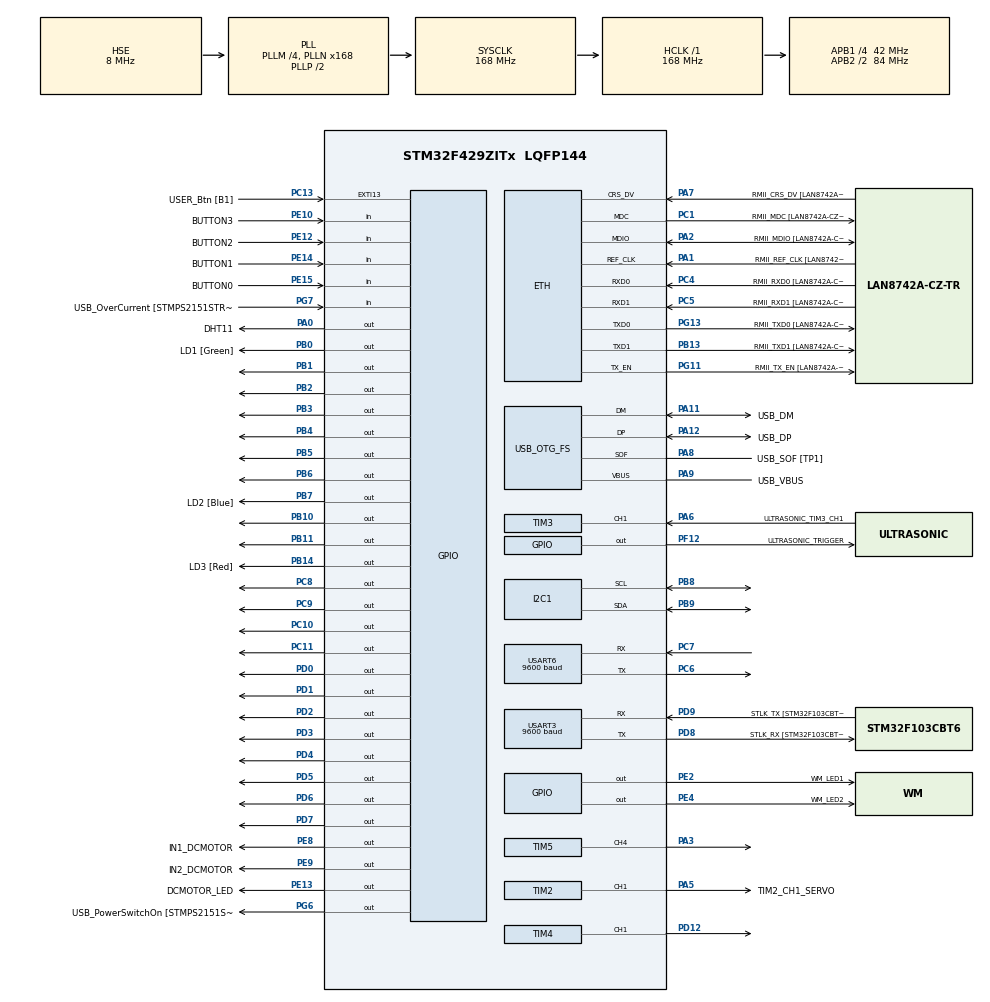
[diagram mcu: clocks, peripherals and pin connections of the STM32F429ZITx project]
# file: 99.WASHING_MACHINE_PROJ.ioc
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ETH.MediaInterface=HAL_ETH_RMII_MODE
ETH.PHY_Name=LAN8742A_PHY_ADDRESS
ETH.PHY_Value=0
ETH.PhyAddress=0
Mcu.Family=STM32F4
Mcu.Name=STM32F429ZITx
Mcu.Package=LQFP144
NVIC.PriorityGroup=NVIC_PRIORITYGROUP_4
NVIC.TIM1_TRG_COM_TIM11_IRQn=true\:0\:0\:false\:false\:true\:true\:true\:true
NVIC.TIM1_UP_TIM10_IRQn=true\:0\:0\:false\:false\:true\:true\:true\:true
NVIC.TIM3_IRQn=true\:0\:0\:false\:false\:true\:true\:true\:true
NVIC.TIM4_IRQn=true\:0\:0\:false\:false\:true\:true\:true\:true
NVIC.TIM5_IRQn=true\:0\:0\:false\:false\:true\:true\:true\:true
NVIC.USART3_IRQn=true\:0\:0\:false\:false\:true\:true\:true\:true
NVIC.USART6_IRQn=true\:0\:0\:false\:false\:true\:true\:true\:true
PA0/WKUP.GPIO_Label=DHT11
PA0/WKUP.Signal=GPIO_Output
PA1.GPIO_Label=RMII_REF_CLK [LAN8742A-CZ-TR_REFCLK0]
PA1.Mode=RMII
PA1.Signal=ETH_REF_CLK
PA10.GPIO_Label=USB_ID
PA10.Signal=USB_OTG_FS_ID
PA11.GPIO_Label=USB_DM
PA11.Mode=Device_Only
PA11.Signal=USB_OTG_FS_DM
PA12.GPIO_Label=USB_DP
PA12.Mode=Device_Only
PA12.Signal=USB_OTG_FS_DP
PA13.GPIO_Label=TMS
PA13.Mode=Serial_Wire
PA13.Signal=SYS_JTMS-SWDIO
PA14.GPIO_Label=TCK
PA14.Mode=Serial_Wire
PA14.Signal=SYS_JTCK-SWCLK
PA2.GPIO_Label=RMII_MDIO [LAN8742A-CZ-TR_MDIO]
PA2.Mode=RMII
PA2.Signal=ETH_MDIO
PA3.Signal=S_TIM5_CH4
PA5.GPIO_Label=TIM2_CH1_SERVO
PA5.Signal=S_TIM2_CH1_ETR
PA6.GPIO_Label=ULTRASONIC_TIM3_CH1
PA6.Signal=S_TIM3_CH1
PA7.GPIO_Label=RMII_CRS_DV [LAN8742A-CZ-TR_CRS_DV]
PA7.Mode=RMII
PA7.Signal=ETH_CRS_DV
PA8.GPIO_Label=USB_SOF [TP1]
PA8.Mode=Activate_SOF_FS
PA8.Signal=USB_OTG_FS_SOF
PA9.GPIO_Label=USB_VBUS
PA9.Mode=Activate_VBUS
PA9.Signal=USB_OTG_FS_VBUS
PB0.GPIO_Label=LD1 [Green]
PB0.Signal=GPIO_Output
PB1.Signal=GPIO_Output
PB10.Signal=GPIO_Output
PB11.Signal=GPIO_Output
PB13.GPIO_Label=RMII_TXD1 [LAN8742A-CZ-TR_TXD1]
PB13.Mode=RMII
PB13.Signal=ETH_TXD1
PB14.GPIO_Label=LD3 [Red]
PB14.Signal=GPIO_Output
PB2/BOOT1.Signal=GPIO_Output
PB3.Signal=GPIO_Output
PB4.Signal=GPIO_Output
PB5.Signal=GPIO_Output
PB6.Signal=GPIO_Output
PB7.GPIO_Label=LD2 [Blue]
PB7.Signal=GPIO_Output
PB8.Mode=I2C
PB8.Signal=I2C1_SCL
PB9.Mode=I2C
PB9.Signal=I2C1_SDA
PC1.GPIO_Label=RMII_MDC [LAN8742A-CZ-TR_MDC]
PC1.Mode=RMII
PC1.Signal=ETH_MDC
PC10.Signal=GPIO_Output
PC11.Signal=GPIO_Output
PC13.GPIO_Label=USER_Btn [B1]
PC13.Signal=GPXTI13
PC14/OSC32_IN.Mode=LSE-External-Oscillator
PC14/OSC32_IN.Signal=RCC_OSC32_IN
PC15/OSC32_OUT.Mode=LSE-External-Oscillator
PC15/OSC32_OUT.Signal=RCC_OSC32_OUT
PC4.GPIO_Label=RMII_RXD0 [LAN8742A-CZ-TR_RXD0]
PC4.Mode=RMII
PC4.Signal=ETH_RXD0
PC5.GPIO_Label=RMII_RXD1 [LAN8742A-CZ-TR_RXD1]
PC5.Mode=RMII
PC5.Signal=ETH_RXD1
PC6.Mode=Asynchronous
PC6.Signal=USART6_TX
PC7.Mode=Asynchronous
PC7.Signal=USART6_RX
PC8.Signal=GPIO_Output
PC9.Signal=GPIO_Output
PD0.Signal=GPIO_Output
PD1.Signal=GPIO_Output
PD12.Signal=S_TIM4_CH1
PD2.Signal=GPIO_Output
PD3.Signal=GPIO_Output
PD4.Signal=GPIO_Output
PD5.Signal=GPIO_Output
PD6.Signal=GPIO_Output
PD7.Signal=GPIO_Output
PD8.GPIO_Label=STLK_RX [STM32F103CBT6_PA3]
PD8.Mode=Asynchronous
PD8.Signal=USART3_TX
PD9.GPIO_Label=STLK_TX [STM32F103CBT6_PA2]
PD9.Mode=Asynchronous
PD9.Signal=USART3_RX
PE10.GPIO_Label=BUTTON3
PE10.Signal=GPIO_Input
PE12.GPIO_Label=BUTTON2
PE12.Signal=GPIO_Input
PE13.GPIO_Label=DCMOTOR_LED
PE13.Signal=GPIO_Output
PE14.GPIO_Label=BUTTON1
PE14.Signal=GPIO_Input
PE15.GPIO_Label=BUTTON0
PE15.Signal=GPIO_Input
PE2.GPIO_Label=WM_LED1
PE2.Signal=GPIO_Output
PE4.GPIO_Label=WM_LED2
PE4.Signal=GPIO_Output
PE8.GPIO_Label=IN1_DCMOTOR
PE8.Signal=GPIO_Output
PE9.GPIO_Label=IN2_DCMOTOR
PE9.Signal=GPIO_Output
PF12.GPIO_Label=ULTRASONIC_TRIGGER
PF12.Signal=GPIO_Output
PG11.GPIO_Label=RMII_TX_EN [LAN8742A-CZ-TR_TXEN]
PG11.Mode=RMII
PG11.Signal=ETH_TX_EN
PG13.GPIO_Label=RMII_TXD0 [LAN8742A-CZ-TR_TXD0]
PG13.Mode=RMII
PG13.Signal=ETH_TXD0
PG6.GPIO_Label=USB_PowerSwitchOn [STMPS2151STR_EN]
PG6.Signal=GPIO_Output
PG7.GPIO_Label=USB_OverCurrent [STMPS2151STR_FAULT]
PG7.Signal=GPIO_Input
PH0/OSC_IN.GPIO_Label=MCO [STM32F103CBT6_PA8]
PH0/OSC_IN.Mode=HSE-External-Clock-Source
PH0/OSC_IN.Signal=RCC_OSC_IN
PH1/OSC_OUT.Mode=HSE-External-Clock-Source
PH1/OSC_OUT.Signal=RCC_OSC_OUT
ProjectManager.HeapSize=0x200
ProjectManager.StackSize=0x400
ProjectManager.TargetToolchain=STM32CubeIDE
RCC.48MHZClocksFreq_Value=48000000
RCC.AHBFreq_Value=168000000
RCC.APB1CLKDivider=RCC_HCLK_DIV4
RCC.APB1Freq_Value=42000000
RCC.APB1TimFreq_Value=84000000
RCC.APB2CLKDivider=RCC_HCLK_DIV2
RCC.APB2Freq_Value=84000000
RCC.APB2TimCLKDivider=2
RCC.APB2TimFreq_Value=168000000
RCC.CortexFreq_Value=168000000
RCC.HCLKFreq_Value=168000000
RCC.HSE_VALUE=8000000
RCC.HSI_VALUE=16000000
RCC.PLLM=4
RCC.PLLMUL=RCC_PLL_MUL9
RCC.PLLN=168
RCC.PLLQ=7
RCC.PRESCALERUSB=RCC_USBCLKSOURCE_PLL_DIV1_5
RCC.SYSCLKFreq_VALUE=168000000
RCC.SYSCLKSource=RCC_SYSCLKSOURCE_PLLCLK
RCC.SYSCLKSourceVirtual=RCC_SYSCLKSOURCE_PLLCLK
RCC.USBFreq_Value=48000000
RCC.VCOOutputFreq_Value=336000000
RTC.Date=16
RTC.Hours=10
RTC.Minutes=6
RTC.Month=RTC_MONTH_OCTOBER
RTC.Year=23
SH.S_TIM2_CH1_ETR.0=TIM2_CH1,PWM Generation1 CH1
SH.S_TIM3_CH1.0=TIM3_CH1,Input_Capture1_from_TI1
SH.S_TIM4_CH1.0=TIM4_CH1,PWM Generation1 CH1
SH.S_TIM5_CH4.0=TIM5_CH4,PWM Generation4 CH4
TIM10.Period=10000-1
TIM10.Prescaler=168-1
TIM11.Prescaler=168-1
TIM2.Channel-PWM\ Generation1\ CH1=TIM_CHANNEL_1
TIM2.Period=1000-1
TIM2.Prescaler=1680-1
TIM2.Pulse-PWM\ Generation1\ CH1=500-1
TIM3.Channel-Input_Capture1_from_TI1=TIM_CHANNEL_1
TIM3.ICPolarity_CH1=TIM_INPUTCHANNELPOLARITY_BOTHEDGE
TIM3.Prescaler=84-1
TIM4.Channel-PWM\ Generation1\ CH1=TIM_CHANNEL_1
TIM4.OCFastMode_PWM-PWM\ Generation1\ CH1=TIM_OCFAST_ENABLE
TIM4.Period=100-1
TIM4.Prescaler=840-1
TIM4.Pulse-PWM\ Generation1\ CH1=60-1
TIM5.Channel-PWM\ Generation4\ CH4=TIM_CHANNEL_4
TIM5.Period=400-1
TIM5.Prescaler=52.5-1
USART3.BaudRate=9600
USART3.VirtualMode=VM_ASYNC
USART6.BaudRate=9600
USART6.VirtualMode=VM_ASYNC
USB_OTG_FS.VirtualMode=Device_Only
VP_RTC_VS_RTC_Activate.Mode=RTC_Enabled
VP_RTC_VS_RTC_Calendar.Mode=RTC_Calendar
VP_TIM10_VS_ClockSourceINT.Mode=Enable_Timer
VP_TIM11_VS_ClockSourceINT.Mode=Enable_Timer
VP_TIM4_VS_ClockSourceINT.Mode=Internal
board=NUCLEO-F429ZI

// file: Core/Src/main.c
/* USER CODE BEGIN Header */
/**
  ******************************************************************************
  * @file           : main.c
  * @brief          : Main program body
  ******************************************************************************
  * @attention
  *
  * Copyright (c) 2023 STMicroelectronics.
  * All rights reserved.
  *
  * This software is licensed under terms that can be found in the LICENSE file
  * in the root directory of this software component.
  * If no LICENSE file comes with this software, it is provided AS-IS.
  *
  ******************************************************************************
  */
/* USER CODE END Header */
#include "main.h"
#include "string.h"

ETH_TxPacketConfig TxConfig;
ETH_DMADescTypeDef  DMARxDscrTab[ETH_RX_DESC_CNT]; /* Ethernet Rx DMA Descriptors */
ETH_DMADescTypeDef  DMATxDscrTab[ETH_TX_DESC_CNT]; /* Ethernet Tx DMA Descriptors */

ETH_HandleTypeDef heth;

I2C_HandleTypeDef hi2c1;

RTC_HandleTypeDef hrtc;

TIM_HandleTypeDef htim2;
TIM_HandleTypeDef htim3;
TIM_HandleTypeDef htim4;
TIM_HandleTypeDef htim5;
TIM_HandleTypeDef htim10;
TIM_HandleTypeDef htim11;

UART_HandleTypeDef huart3;
UART_HandleTypeDef huart6;

PCD_HandleTypeDef hpcd_USB_OTG_FS;

/* USER CODE BEGIN PV */
uint8_t rx_data;  // uart3 rx data
uint8_t bt_rx_data;  // uart6 rx data
volatile int TIM10_10ms_counter = 0;
volatile int TIM10_10ms_ultrasonic = 0;
/* USER CODE END PV */

void SystemClock_Config(void);
static void MX_GPIO_Init(void);
static void MX_ETH_Init(void);
static void MX_USART3_UART_Init(void);
static void MX_USB_OTG_FS_PCD_Init(void);
static void MX_USART6_UART_Init(void);
static void MX_TIM10_Init(void);
static void MX_TIM11_Init(void);
static void MX_TIM3_Init(void);
static void MX_I2C1_Init(void);
static void MX_TIM4_Init(void);
static void MX_TIM2_Init(void);
static void MX_RTC_Init(void);
static void MX_TIM5_Init(void);
/* USER CODE BEGIN PFP */
extern void led_main(void);
extern void pc_command_processing(void);
extern void bt_command_processing(void);
extern void DHT11_main(void);
extern void DHT11_init(void);
extern void DHT11_processing();
extern void ultrasonic_processing(void);
extern void i2c_lcd_main(void);
extern void i2c_lcd_init(void);
extern void lcd_string(uint8_t *str);
extern void move_cursor(uint8_t row, uint8_t column);
extern void dcmotor_pwm_control(void);
extern void servo_motor_test_main(void);
extern void get_rtc(void);
extern void lcd_display_mode_select(void);
extern void set_time_button_ui(void);
extern void mode_select(void);
extern void fnd4digit_main(void);
extern void buzzer_main(void);
extern void fnd4digit_sec_clock(void);
extern void FND4digit_off(void);

void delay_us(unsigned long us);
/* USER CODE END PFP */

/* USER CODE BEGIN 0 */
// call by SysTick_Handler of stm32f4xx_it.c
// ARM default timer
// enter here every 1ms
volatile int t1ms_counter = 0;
extern volatile int dht11_on=1;
extern volatile int ultrasonic_on=1;

volatile int fnd1ms_counter = 0;  // fnd1ms

void HAL_SYSTICK_Handler(void)
{
	t1ms_counter++; // 1ms timer
	fnd1ms_counter++;
}
//----------  printf start ----------
#ifdef __GNUC__
/* With GCC, small printf (option LD Linker->Libraries->Small printf
   set to 'Yes') calls __io_putchar() */
#define PUTCHAR_PROTOTYPE int __io_putchar(int ch)
#else
#define PUTCHAR_PROTOTYPE int fputc(int ch, FILE *f)
#endif /* __GNUC_ */
/**
  * @brief  Retargets the C library printf function to the USART.
  * @param  None
  * @retval None
  */
PUTCHAR_PROTOTYPE   // Add for printf
{
  /* Place your implementation of fputc here */
  /* e.g. write a character to the USART3 and Loop until the end of transmission */
  HAL_UART_Transmit(&huart3, (uint8_t *)&ch, 1, 0xFFFF);

  return ch;
}
//----------  printf end ----------
// move from Driver/STM32F4xx HAL_Driver/stm32f4xx_hal_time.c to here
//enter here every timer INT occurs

void HAL_TIM_PeriodElapsedCallback(TIM_HandleTypeDef *htim)
{
	if(htim->Instance == TIM10)
	{
		TIM10_10ms_counter++; //10ms timer counter
		TIM10_10ms_ultrasonic++; // ultrasonic trigger timer
	}

}

void delay_us(unsigned long us)
{
	__HAL_TIM_SET_COUNTER(&htim11,0); // tim11 clear
	while(__HAL_TIM_GET_COUNTER(&htim11) < us)
		;
}
/* USER CODE END 0 */

int main(void)
{

  /* MCU Configuration--------------------------------------------------------*/

  /* Reset of all peripherals, Initializes the Flash interface and the Systick. */
  HAL_Init();

  /* Configure the system clock */
  SystemClock_Config();

  /* Initialize all configured peripherals */
  MX_GPIO_Init();
  MX_ETH_Init();
  MX_USART3_UART_Init();
  MX_USB_OTG_FS_PCD_Init();
  MX_USART6_UART_Init();
  MX_TIM10_Init();
  MX_TIM11_Init();
  MX_TIM3_Init();
  MX_I2C1_Init();
  MX_TIM4_Init();
  MX_TIM2_Init();
  MX_RTC_Init();
  MX_TIM5_Init();
  /* USER CODE BEGIN 2 */
  HAL_UART_Receive_IT(&huart3, &rx_data, 1); // assign to RX INT
  HAL_UART_Receive_IT(&huart6, &bt_rx_data, 1); // for BT assign to RX INT
  HAL_TIM_Base_Start_IT(&htim10);  // ADD_YGPARK_1011
  HAL_TIM_Base_Start_IT(&htim11);  // ADD_YGPARK_1011
  HAL_TIM_IC_Start_IT(&htim3,TIM_CHANNEL_1);  //  for count pulse(rising edge & falling edge)
  HAL_TIM_PWM_Start_IT(&htim4, TIM_CHANNEL_1); // for DC motor PWM control
  HAL_TIM_PWM_Start(&htim2,TIM_CHANNEL_1);  // for DC servo motor PWM control
  HAL_TIM_PWM_Start(&htim5,TIM_CHANNEL_4); //PIEZO Buzzer

//  DHT11_Init();
  i2c_lcd_init();
  FND4digit_off();

  // led_main();
  // DHT11_main();
  // i2c_lcd_main();
  // servo_motor_test_main();
  //buzzer_main();
//  fnd4digit_main();
printf("start !!!!\n");
  /* USER CODE END 2 */

  /* Infinite loop */
  /* USER CODE BEGIN WHILE */
  while (1)
  {
//	  DHT11_processing();
//	  pc_command_processing();
//	  bt_command_processing();
	  ultrasonic_processing();
//	  dcmotor_pwm_control();
//	  get_rtc();
//	  lcd_display_mode_select();
//	  set_time_button_ui();
//	  printf("9298\n");
//	  HAL_Delay(100);

	  mode_select();
	fnd4digit_sec_clock();

    /* USER CODE END WHILE */

  }
}

void SystemClock_Config(void)
{
  RCC_OscInitTypeDef RCC_OscInitStruct = {0};
  RCC_ClkInitTypeDef RCC_ClkInitStruct = {0};

  /** Configure the main internal regulator output voltage
  */
  __HAL_RCC_PWR_CLK_ENABLE();
  __HAL_PWR_VOLTAGESCALING_CONFIG(PWR_REGULATOR_VOLTAGE_SCALE1);

  /** Initializes the RCC Oscillators according to the specified parameters
  * in the RCC_OscInitTypeDef structure.
  */
  RCC_OscInitStruct.OscillatorType = RCC_OSCILLATORTYPE_LSI|RCC_OSCILLATORTYPE_HSE;
  RCC_OscInitStruct.HSEState = RCC_HSE_BYPASS;
  RCC_OscInitStruct.LSIState = RCC_LSI_ON;
  RCC_OscInitStruct.PLL.PLLState = RCC_PLL_ON;
  RCC_OscInitStruct.PLL.PLLSource = RCC_PLLSOURCE_HSE;
  RCC_OscInitStruct.PLL.PLLM = 4;
  RCC_OscInitStruct.PLL.PLLN = 168;
  RCC_OscInitStruct.PLL.PLLP = RCC_PLLP_DIV2;
  RCC_OscInitStruct.PLL.PLLQ = 7;
  if (HAL_RCC_OscConfig(&RCC_OscInitStruct) != HAL_OK)
  {
    Error_Handler();
  }

  /** Initializes the CPU, AHB and APB buses clocks
  */
  RCC_ClkInitStruct.ClockType = RCC_CLOCKTYPE_HCLK|RCC_CLOCKTYPE_SYSCLK
                              |RCC_CLOCKTYPE_PCLK1|RCC_CLOCKTYPE_PCLK2;
  RCC_ClkInitStruct.SYSCLKSource = RCC_SYSCLKSOURCE_PLLCLK;
  RCC_ClkInitStruct.AHBCLKDivider = RCC_SYSCLK_DIV1;
  RCC_ClkInitStruct.APB1CLKDivider = RCC_HCLK_DIV4;
  RCC_ClkInitStruct.APB2CLKDivider = RCC_HCLK_DIV2;

  if (HAL_RCC_ClockConfig(&RCC_ClkInitStruct, FLASH_LATENCY_5) != HAL_OK)
  {
    Error_Handler();
  }
}

static void MX_ETH_Init(void)
{

   static uint8_t MACAddr[6];

  heth.Instance = ETH;
  MACAddr[0] = 0x00;
  MACAddr[1] = 0x80;
  MACAddr[2] = 0xE1;
  MACAddr[3] = 0x00;
  MACAddr[4] = 0x00;
  MACAddr[5] = 0x00;
  heth.Init.MACAddr = &MACAddr[0];
  heth.Init.MediaInterface = HAL_ETH_RMII_MODE;
  heth.Init.TxDesc = DMATxDscrTab;
  heth.Init.RxDesc = DMARxDscrTab;
  heth.Init.RxBuffLen = 1524;

  if (HAL_ETH_Init(&heth) != HAL_OK)
  {
    Error_Handler();
  }

  memset(&TxConfig, 0 , sizeof(ETH_TxPacketConfig));
  TxConfig.Attributes = ETH_TX_PACKETS_FEATURES_CSUM | ETH_TX_PACKETS_FEATURES_CRCPAD;
  TxConfig.ChecksumCtrl = ETH_CHECKSUM_IPHDR_PAYLOAD_INSERT_PHDR_CALC;
  TxConfig.CRCPadCtrl = ETH_CRC_PAD_INSERT;

}

static void MX_I2C1_Init(void)
{

  hi2c1.Instance = I2C1;
  hi2c1.Init.ClockSpeed = 100000;
  hi2c1.Init.DutyCycle = I2C_DUTYCYCLE_2;
  hi2c1.Init.OwnAddress1 = 0;
  hi2c1.Init.AddressingMode = I2C_ADDRESSINGMODE_7BIT;
  hi2c1.Init.DualAddressMode = I2C_DUALADDRESS_DISABLE;
  hi2c1.Init.OwnAddress2 = 0;
  hi2c1.Init.GeneralCallMode = I2C_GENERALCALL_DISABLE;
  hi2c1.Init.NoStretchMode = I2C_NOSTRETCH_DISABLE;
  if (HAL_I2C_Init(&hi2c1) != HAL_OK)
  {
    Error_Handler();
  }

  /** Configure Analogue filter
  */
  if (HAL_I2CEx_ConfigAnalogFilter(&hi2c1, I2C_ANALOGFILTER_ENABLE) != HAL_OK)
  {
    Error_Handler();
  }

  /** Configure Digital filter
  */
  if (HAL_I2CEx_ConfigDigitalFilter(&hi2c1, 0) != HAL_OK)
  {
    Error_Handler();
  }

}

static void MX_RTC_Init(void)
{

  RTC_TimeTypeDef sTime = {0};
  RTC_DateTypeDef sDate = {0};

  /** Initialize RTC Only
  */
  hrtc.Instance = RTC;
  hrtc.Init.HourFormat = RTC_HOURFORMAT_24;
  hrtc.Init.AsynchPrediv = 127;
  hrtc.Init.SynchPrediv = 255;
  hrtc.Init.OutPut = RTC_OUTPUT_DISABLE;
  hrtc.Init.OutPutPolarity = RTC_OUTPUT_POLARITY_HIGH;
  hrtc.Init.OutPutType = RTC_OUTPUT_TYPE_OPENDRAIN;
  if (HAL_RTC_Init(&hrtc) != HAL_OK)
  {
    Error_Handler();
  }

  /** Initialize RTC and set the Time and Date
  */
  sTime.Hours = 0x10;
  sTime.Minutes = 0x6;
  sTime.Seconds = 0x0;
  sTime.DayLightSaving = RTC_DAYLIGHTSAVING_NONE;
  sTime.StoreOperation = RTC_STOREOPERATION_RESET;
  if (HAL_RTC_SetTime(&hrtc, &sTime, RTC_FORMAT_BCD) != HAL_OK)
  {
    Error_Handler();
  }
  sDate.WeekDay = RTC_WEEKDAY_MONDAY;
  sDate.Month = RTC_MONTH_OCTOBER;
  sDate.Date = 0x16;
  sDate.Year = 0x23;

  if (HAL_RTC_SetDate(&hrtc, &sDate, RTC_FORMAT_BCD) != HAL_OK)
  {
    Error_Handler();
  }

}

static void MX_TIM2_Init(void)
{

  TIM_MasterConfigTypeDef sMasterConfig = {0};
  TIM_OC_InitTypeDef sConfigOC = {0};

  htim2.Instance = TIM2;
  htim2.Init.Prescaler = 1680-1;
  htim2.Init.CounterMode = TIM_COUNTERMODE_UP;
  htim2.Init.Period = 1000-1;
  htim2.Init.ClockDivision = TIM_CLOCKDIVISION_DIV1;
  htim2.Init.AutoReloadPreload = TIM_AUTORELOAD_PRELOAD_DISABLE;
  if (HAL_TIM_PWM_Init(&htim2) != HAL_OK)
  {
    Error_Handler();
  }
  sMasterConfig.MasterOutputTrigger = TIM_TRGO_RESET;
  sMasterConfig.MasterSlaveMode = TIM_MASTERSLAVEMODE_DISABLE;
  if (HAL_TIMEx_MasterConfigSynchronization(&htim2, &sMasterConfig) != HAL_OK)
  {
    Error_Handler();
  }
  sConfigOC.OCMode = TIM_OCMODE_PWM1;
  sConfigOC.Pulse = 500-1;
  sConfigOC.OCPolarity = TIM_OCPOLARITY_HIGH;
  sConfigOC.OCFastMode = TIM_OCFAST_DISABLE;
  if (HAL_TIM_PWM_ConfigChannel(&htim2, &sConfigOC, TIM_CHANNEL_1) != HAL_OK)
  {
    Error_Handler();
  }
  HAL_TIM_MspPostInit(&htim2);

}

static void MX_TIM3_Init(void)
{

  TIM_MasterConfigTypeDef sMasterConfig = {0};
  TIM_IC_InitTypeDef sConfigIC = {0};

  htim3.Instance = TIM3;
  htim3.Init.Prescaler = 84-1;
  htim3.Init.CounterMode = TIM_COUNTERMODE_UP;
  htim3.Init.Period = 65535;
  htim3.Init.ClockDivision = TIM_CLOCKDIVISION_DIV1;
  htim3.Init.AutoReloadPreload = TIM_AUTORELOAD_PRELOAD_DISABLE;
  if (HAL_TIM_IC_Init(&htim3) != HAL_OK)
  {
    Error_Handler();
  }
  sMasterConfig.MasterOutputTrigger = TIM_TRGO_RESET;
  sMasterConfig.MasterSlaveMode = TIM_MASTERSLAVEMODE_DISABLE;
  if (HAL_TIMEx_MasterConfigSynchronization(&htim3, &sMasterConfig) != HAL_OK)
  {
    Error_Handler();
  }
  sConfigIC.ICPolarity = TIM_INPUTCHANNELPOLARITY_BOTHEDGE;
  sConfigIC.ICSelection = TIM_ICSELECTION_DIRECTTI;
  sConfigIC.ICPrescaler = TIM_ICPSC_DIV1;
  sConfigIC.ICFilter = 0;
  if (HAL_TIM_IC_ConfigChannel(&htim3, &sConfigIC, TIM_CHANNEL_1) != HAL_OK)
  {
    Error_Handler();
  }

}

static void MX_TIM4_Init(void)
{

  TIM_ClockConfigTypeDef sClockSourceConfig = {0};
  TIM_MasterConfigTypeDef sMasterConfig = {0};
  TIM_OC_InitTypeDef sConfigOC = {0};

  htim4.Instance = TIM4;
  htim4.Init.Prescaler = 840-1;
  htim4.Init.CounterMode = TIM_COUNTERMODE_UP;
  htim4.Init.Period = 100-1;
  htim4.Init.ClockDivision = TIM_CLOCKDIVISION_DIV1;
  htim4.Init.AutoReloadPreload = TIM_AUTORELOAD_PRELOAD_DISABLE;
  if (HAL_TIM_Base_Init(&htim4) != HAL_OK)
  {
    Error_Handler();
  }
  sClockSourceConfig.ClockSource = TIM_CLOCKSOURCE_INTERNAL;
  if (HAL_TIM_ConfigClockSource(&htim4, &sClockSourceConfig) != HAL_OK)
  {
    Error_Handler();
  }
  if (HAL_TIM_PWM_Init(&htim4) != HAL_OK)
  {
    Error_Handler();
  }
  sMasterConfig.MasterOutputTrigger = TIM_TRGO_RESET;
  sMasterConfig.MasterSlaveMode = TIM_MASTERSLAVEMODE_DISABLE;
  if (HAL_TIMEx_MasterConfigSynchronization(&htim4, &sMasterConfig) != HAL_OK)
  {
    Error_Handler();
  }
  sConfigOC.OCMode = TIM_OCMODE_PWM1;
  sConfigOC.Pulse = 60-1;
  sConfigOC.OCPolarity = TIM_OCPOLARITY_HIGH;
  sConfigOC.OCFastMode = TIM_OCFAST_ENABLE;
  if (HAL_TIM_PWM_ConfigChannel(&htim4, &sConfigOC, TIM_CHANNEL_1) != HAL_OK)
  {
    Error_Handler();
  }
  HAL_TIM_MspPostInit(&htim4);

}

static void MX_TIM5_Init(void)
{

  TIM_MasterConfigTypeDef sMasterConfig = {0};
  TIM_OC_InitTypeDef sConfigOC = {0};

  htim5.Instance = TIM5;
  htim5.Init.Prescaler = 52.5-1;
  htim5.Init.CounterMode = TIM_COUNTERMODE_UP;
  htim5.Init.Period = 400-1;
  htim5.Init.ClockDivision = TIM_CLOCKDIVISION_DIV1;
  htim5.Init.AutoReloadPreload = TIM_AUTORELOAD_PRELOAD_DISABLE;
  if (HAL_TIM_PWM_Init(&htim5) != HAL_OK)
  {
    Error_Handler();
  }
  sMasterConfig.MasterOutputTrigger = TIM_TRGO_RESET;
  sMasterConfig.MasterSlaveMode = TIM_MASTERSLAVEMODE_DISABLE;
  if (HAL_TIMEx_MasterConfigSynchronization(&htim5, &sMasterConfig) != HAL_OK)
  {
    Error_Handler();
  }
  sConfigOC.OCMode = TIM_OCMODE_PWM1;
  sConfigOC.Pulse = 0;
  sConfigOC.OCPolarity = TIM_OCPOLARITY_HIGH;
  sConfigOC.OCFastMode = TIM_OCFAST_DISABLE;
  if (HAL_TIM_PWM_ConfigChannel(&htim5, &sConfigOC, TIM_CHANNEL_4) != HAL_OK)
  {
    Error_Handler();
  }
  HAL_TIM_MspPostInit(&htim5);

}

static void MX_TIM10_Init(void)
{

  htim10.Instance = TIM10;
  htim10.Init.Prescaler = 168-1;
  htim10.Init.CounterMode = TIM_COUNTERMODE_UP;
  htim10.Init.Period = 10000-1;
  htim10.Init.ClockDivision = TIM_CLOCKDIVISION_DIV1;
  htim10.Init.AutoReloadPreload = TIM_AUTORELOAD_PRELOAD_DISABLE;
  if (HAL_TIM_Base_Init(&htim10) != HAL_OK)
  {
    Error_Handler();
  }

}

static void MX_TIM11_Init(void)
{

  htim11.Instance = TIM11;
  htim11.Init.Prescaler = 168-1;
  htim11.Init.CounterMode = TIM_COUNTERMODE_UP;
  htim11.Init.Period = 65535;
  htim11.Init.ClockDivision = TIM_CLOCKDIVISION_DIV1;
  htim11.Init.AutoReloadPreload = TIM_AUTORELOAD_PRELOAD_DISABLE;
  if (HAL_TIM_Base_Init(&htim11) != HAL_OK)
  {
    Error_Handler();
  }

}

static void MX_USART3_UART_Init(void)
{

  huart3.Instance = USART3;
  huart3.Init.BaudRate = 9600;
  huart3.Init.WordLength = UART_WORDLENGTH_8B;
  huart3.Init.StopBits = UART_STOPBITS_1;
  huart3.Init.Parity = UART_PARITY_NONE;
  huart3.Init.Mode = UART_MODE_TX_RX;
  huart3.Init.HwFlowCtl = UART_HWCONTROL_NONE;
  huart3.Init.OverSampling = UART_OVERSAMPLING_16;
  if (HAL_UART_Init(&huart3) != HAL_OK)
  {
    Error_Handler();
  }

}

static void MX_USART6_UART_Init(void)
{

  huart6.Instance = USART6;
  huart6.Init.BaudRate = 9600;
  huart6.Init.WordLength = UART_WORDLENGTH_8B;
  huart6.Init.StopBits = UART_STOPBITS_1;
  huart6.Init.Parity = UART_PARITY_NONE;
  huart6.Init.Mode = UART_MODE_TX_RX;
  huart6.Init.HwFlowCtl = UART_HWCONTROL_NONE;
  huart6.Init.OverSampling = UART_OVERSAMPLING_16;
  if (HAL_UART_Init(&huart6) != HAL_OK)
  {
    Error_Handler();
  }

}

static void MX_USB_OTG_FS_PCD_Init(void)
{

  hpcd_USB_OTG_FS.Instance = USB_OTG_FS;
  hpcd_USB_OTG_FS.Init.dev_endpoints = 4;
  hpcd_USB_OTG_FS.Init.speed = PCD_SPEED_FULL;
  hpcd_USB_OTG_FS.Init.dma_enable = DISABLE;
  hpcd_USB_OTG_FS.Init.phy_itface = PCD_PHY_EMBEDDED;
  hpcd_USB_OTG_FS.Init.Sof_enable = ENABLE;
  hpcd_USB_OTG_FS.Init.low_power_enable = DISABLE;
  hpcd_USB_OTG_FS.Init.lpm_enable = DISABLE;
  hpcd_USB_OTG_FS.Init.vbus_sensing_enable = ENABLE;
  hpcd_USB_OTG_FS.Init.use_dedicated_ep1 = DISABLE;
  if (HAL_PCD_Init(&hpcd_USB_OTG_FS) != HAL_OK)
  {
    Error_Handler();
  }

}

static void MX_GPIO_Init(void)
{
  GPIO_InitTypeDef GPIO_InitStruct = {0};

  /* GPIO Ports Clock Enable */
  __HAL_RCC_GPIOE_CLK_ENABLE();
  __HAL_RCC_GPIOC_CLK_ENABLE();
  __HAL_RCC_GPIOH_CLK_ENABLE();
  __HAL_RCC_GPIOA_CLK_ENABLE();
  __HAL_RCC_GPIOB_CLK_ENABLE();
  __HAL_RCC_GPIOF_CLK_ENABLE();
  __HAL_RCC_GPIOD_CLK_ENABLE();
  __HAL_RCC_GPIOG_CLK_ENABLE();

  /*Configure GPIO pin Output Level */
  HAL_GPIO_WritePin(GPIOE, WM_LED1_Pin|WM_LED2_Pin|IN1_DCMOTOR_Pin|IN2_DCMOTOR_Pin
                          |DCMOTOR_LED_Pin, GPIO_PIN_RESET);

  /*Configure GPIO pin Output Level */
  HAL_GPIO_WritePin(DHT11_GPIO_Port, DHT11_Pin, GPIO_PIN_RESET);

  /*Configure GPIO pin Output Level */
  HAL_GPIO_WritePin(GPIOB, LD1_Pin|GPIO_PIN_1|GPIO_PIN_2|GPIO_PIN_10
                          |GPIO_PIN_11|LD3_Pin|GPIO_PIN_3|GPIO_PIN_4
                          |GPIO_PIN_5|GPIO_PIN_6|LD2_Pin, GPIO_PIN_RESET);

  /*Configure GPIO pin Output Level */
  HAL_GPIO_WritePin(ULTRASONIC_TRIGGER_GPIO_Port, ULTRASONIC_TRIGGER_Pin, GPIO_PIN_RESET);

  /*Configure GPIO pin Output Level */
  HAL_GPIO_WritePin(USB_PowerSwitchOn_GPIO_Port, USB_PowerSwitchOn_Pin, GPIO_PIN_RESET);

  /*Configure GPIO pin Output Level */
  HAL_GPIO_WritePin(GPIOC, GPIO_PIN_8|GPIO_PIN_9|GPIO_PIN_10|GPIO_PIN_11, GPIO_PIN_RESET);

  /*Configure GPIO pin Output Level */
  HAL_GPIO_WritePin(GPIOD, GPIO_PIN_0|GPIO_PIN_1|GPIO_PIN_2|GPIO_PIN_3
                          |GPIO_PIN_4|GPIO_PIN_5|GPIO_PIN_6|GPIO_PIN_7, GPIO_PIN_RESET);

  /*Configure GPIO pins : WM_LED1_Pin WM_LED2_Pin IN1_DCMOTOR_Pin IN2_DCMOTOR_Pin
                           DCMOTOR_LED_Pin */
  GPIO_InitStruct.Pin = WM_LED1_Pin|WM_LED2_Pin|IN1_DCMOTOR_Pin|IN2_DCMOTOR_Pin
                          |DCMOTOR_LED_Pin;
  GPIO_InitStruct.Mode = GPIO_MODE_OUTPUT_PP;
  GPIO_InitStruct.Pull = GPIO_NOPULL;
  GPIO_InitStruct.Speed = GPIO_SPEED_FREQ_LOW;
  HAL_GPIO_Init(GPIOE, &GPIO_InitStruct);

  /*Configure GPIO pin : USER_Btn_Pin */
  GPIO_InitStruct.Pin = USER_Btn_Pin;
  GPIO_InitStruct.Mode = GPIO_MODE_IT_RISING;
  GPIO_InitStruct.Pull = GPIO_NOPULL;
  HAL_GPIO_Init(USER_Btn_GPIO_Port, &GPIO_InitStruct);

  /*Configure GPIO pin : DHT11_Pin */
  GPIO_InitStruct.Pin = DHT11_Pin;
  GPIO_InitStruct.Mode = GPIO_MODE_OUTPUT_PP;
  GPIO_InitStruct.Pull = GPIO_NOPULL;
  GPIO_InitStruct.Speed = GPIO_SPEED_FREQ_LOW;
  HAL_GPIO_Init(DHT11_GPIO_Port, &GPIO_InitStruct);

  /*Configure GPIO pins : LD1_Pin PB1 PB2 PB10
                           PB11 LD3_Pin PB3 PB4
                           PB5 PB6 LD2_Pin */
  GPIO_InitStruct.Pin = LD1_Pin|GPIO_PIN_1|GPIO_PIN_2|GPIO_PIN_10
                          |GPIO_PIN_11|LD3_Pin|GPIO_PIN_3|GPIO_PIN_4
                          |GPIO_PIN_5|GPIO_PIN_6|LD2_Pin;
  GPIO_InitStruct.Mode = GPIO_MODE_OUTPUT_PP;
  GPIO_InitStruct.Pull = GPIO_NOPULL;
  GPIO_InitStruct.Speed = GPIO_SPEED_FREQ_LOW;
  HAL_GPIO_Init(GPIOB, &GPIO_InitStruct);

  /*Configure GPIO pin : ULTRASONIC_TRIGGER_Pin */
  GPIO_InitStruct.Pin = ULTRASONIC_TRIGGER_Pin;
  GPIO_InitStruct.Mode = GPIO_MODE_OUTPUT_PP;
  GPIO_InitStruct.Pull = GPIO_NOPULL;
  GPIO_InitStruct.Speed = GPIO_SPEED_FREQ_LOW;
  HAL_GPIO_Init(ULTRASONIC_TRIGGER_GPIO_Port, &GPIO_InitStruct);

  /*Configure GPIO pins : BUTTON3_Pin BUTTON2_Pin BUTTON1_Pin BUTTON0_Pin */
  GPIO_InitStruct.Pin = BUTTON3_Pin|BUTTON2_Pin|BUTTON1_Pin|BUTTON0_Pin;
  GPIO_InitStruct.Mode = GPIO_MODE_INPUT;
  GPIO_InitStruct.Pull = GPIO_NOPULL;
  HAL_GPIO_Init(GPIOE, &GPIO_InitStruct);

  /*Configure GPIO pin : USB_PowerSwitchOn_Pin */
  GPIO_InitStruct.Pin = USB_PowerSwitchOn_Pin;
  GPIO_InitStruct.Mode = GPIO_MODE_OUTPUT_PP;
  GPIO_InitStruct.Pull = GPIO_NOPULL;
  GPIO_InitStruct.Speed = GPIO_SPEED_FREQ_LOW;
  HAL_GPIO_Init(USB_PowerSwitchOn_GPIO_Port, &GPIO_InitStruct);

  /*Configure GPIO pin : USB_OverCurrent_Pin */
  GPIO_InitStruct.Pin = USB_OverCurrent_Pin;
  GPIO_InitStruct.Mode = GPIO_MODE_INPUT;
  GPIO_InitStruct.Pull = GPIO_NOPULL;
  HAL_GPIO_Init(USB_OverCurrent_GPIO_Port, &GPIO_InitStruct);

  /*Configure GPIO pins : PC8 PC9 PC10 PC11 */
  GPIO_InitStruct.Pin = GPIO_PIN_8|GPIO_PIN_9|GPIO_PIN_10|GPIO_PIN_11;
  GPIO_InitStruct.Mode = GPIO_MODE_OUTPUT_PP;
  GPIO_InitStruct.Pull = GPIO_NOPULL;
  GPIO_InitStruct.Speed = GPIO_SPEED_FREQ_LOW;
  HAL_GPIO_Init(GPIOC, &GPIO_InitStruct);

  /*Configure GPIO pins : PD0 PD1 PD2 PD3
                           PD4 PD5 PD6 PD7 */
  GPIO_InitStruct.Pin = GPIO_PIN_0|GPIO_PIN_1|GPIO_PIN_2|GPIO_PIN_3
                          |GPIO_PIN_4|GPIO_PIN_5|GPIO_PIN_6|GPIO_PIN_7;
  GPIO_InitStruct.Mode = GPIO_MODE_OUTPUT_PP;
  GPIO_InitStruct.Pull = GPIO_NOPULL;
  GPIO_InitStruct.Speed = GPIO_SPEED_FREQ_LOW;
  HAL_GPIO_Init(GPIOD, &GPIO_InitStruct);

}

void Error_Handler(void)
{
  __disable_irq();
  while (1)
  {
  }
}
